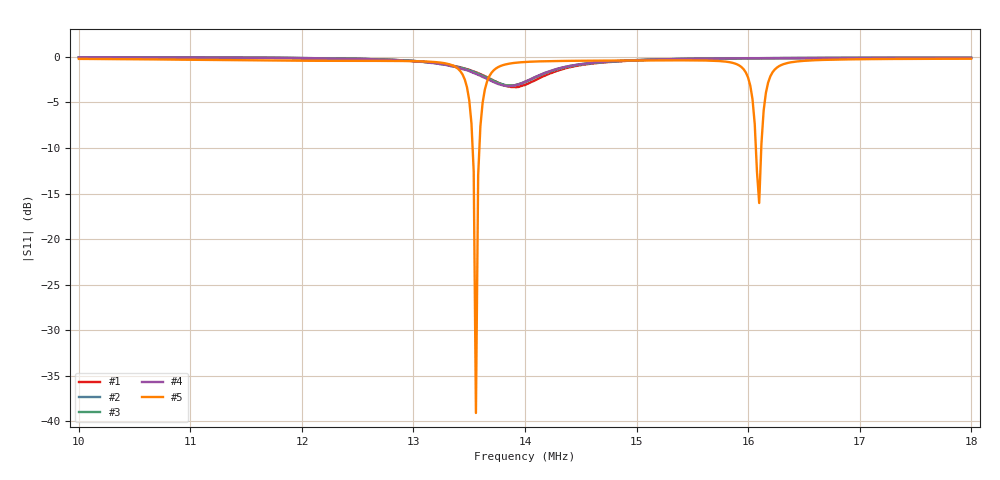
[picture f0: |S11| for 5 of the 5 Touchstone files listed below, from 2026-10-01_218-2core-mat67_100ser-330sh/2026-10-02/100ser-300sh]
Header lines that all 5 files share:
! NanoVNA Web complex sweep
! Processing: original sample grid, no browser smoothing
# Hz S RI R 50
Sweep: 10 MHz to 18 MHz
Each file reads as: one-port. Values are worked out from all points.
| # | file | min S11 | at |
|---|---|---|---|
| 1 | 100ser-300sh_no_AIT_nanovna-sweep-1790975728996.s1p | -3.3 dB | 13.92 MHz |
| 2 | 100ser-300sh_POST_FULL_SWEEP_core-hotspot-22C_nanovna-sweep-1790978355528.s1p | -3.1 dB | 13.9 MHz |
| 3 | 100ser-300sh_POST_FULL_SWEEP_core-hotspot-28C_nanovna-sweep-1790977957042.s1p | -3.2 dB | 13.88 MHz |
| 4 | 100ser-300sh_POST_FULL_SWEEP_core-hotspot-35C-nanovna-sweep-1790977684262.s1p | -3.2 dB | 13.84 MHz |
| 5 | AIT_T158_L155_nanovna-sweep-1790975319271.s1p | -39.1 dB | 13.56 MHz |
